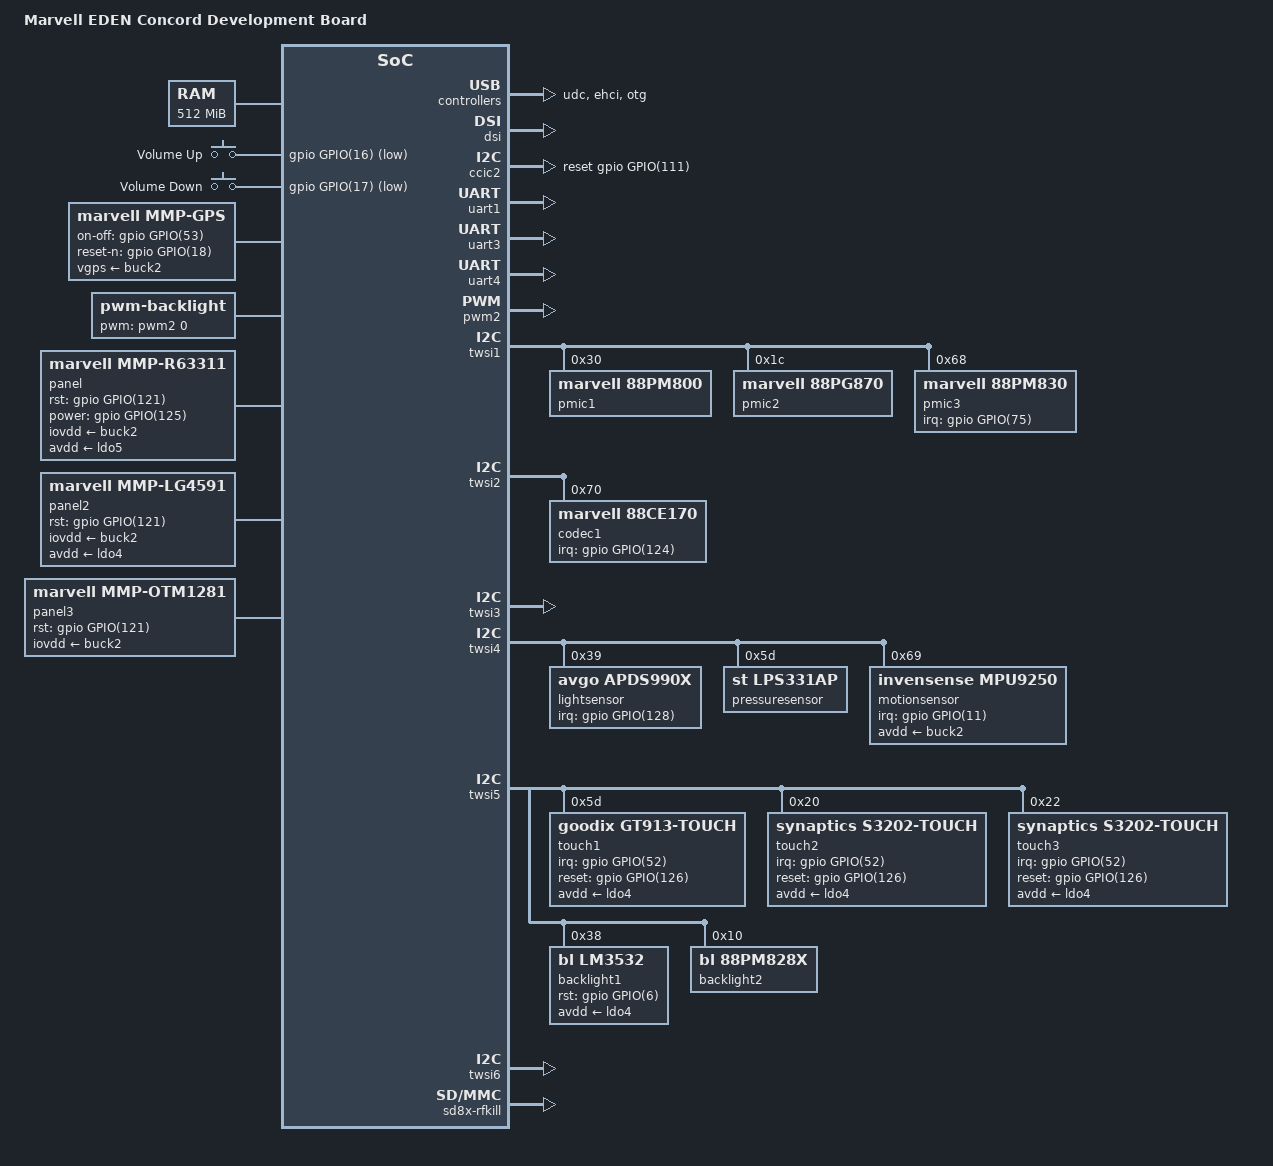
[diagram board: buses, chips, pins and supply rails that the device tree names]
/*
 *  Copyright (C) 2012 Marvell Technology Group Ltd.
 *  Author: Haojian Zhuang <haojian.zhuang@marvell.com>
 *
 *  This program is free software; you can redistribute it and/or modify
 *  it under the terms of the GNU General Public License version 2 as
 *  publishhed by the Free Software Foundation.
 */

/dts-v1/;
/memreserve/ 0x09000000 0x01000000;
#include "eden.dtsi"
#include "regulator.h"
#include <dt-bindings/mmc/pxa_sdhci.h>

/ {
	model = "Marvell EDEN Concord Development Board";
	compatible = "mrvl,eden-concord", "mrvl,eden";

	chosen {
		bootargs = "console=ttyS2,115200 uart_dma root=/dev/nfs nfsroot=192.168.1.100:/nfsroot/ ip=192.168.1.101:192.168.1.100::255.255.255.0::usb0:on";
	};

	memory {
		reg = <0x00000000 0x20000000>;
	};

	gic: interrupt-controller@d1e02000 {
		status = "okay";
	};

	gpio_keys {
			compatible = "gpio-keys";
			#address-cells = <1>;
			#size-cells = <0>;

			volume-up {
				label = "Volume Up";
				linux,code = <115>; /* KEY_VOLUMEUP */
				gpios = <&gpio GPIO(16) 1>;
			};
			volume-down {
				label = "Volume Down";
				linux,code = <114>;/* KEY_VOLUMEDOWN */
				gpios = <&gpio GPIO(17) 1>;
			};
	};

	gps: mmp-gps {
		compatible = "marvell,mmp-gps";
		vgps-supply = <&buck2>;
		on-off-gpio = <&gpio GPIO(53) 0>;
		reset-n-gpio = <&gpio GPIO(18) 0>;
	};

	soc {
		axi@d4200000 {	/* AXI */
			usbphy: usbphy@d4207000 {
				status = "okay";
			};

			udc: udc@d4208100 {
				status = "okay";
			};

			ehci: ehci@d4208100 {
				status = "okay";
			};

			otg: otg@d4208100 {
				status = "okay";
			};

			dsi: dsi@d420b800 {
				marvell,phy-name = "mmp_dsi1";
				marvell,plat-path-name = "mmp_pnpath";
				marvell,dsi-lanes = <4>;
				marvell,burst-mode = <2>;
				marvell,hbp-en;
				dsi_avdd-supply = <&ldo3>;
				status = "okay";
			};

			vdma: vdma@d427f000 {
				marvell,vdma-num = <4>;
				isram = <&isram_z1>;
				status = "okay";
				vdma1 {
					marvell,vdma-id = <0>;
					marvell,sram-size = <17408>;
					marvell,is_vid = <0>;
				};
				vdma2 {
					marvell,vdma-id = <1>;
					marvell,sram-size = <15360>;
					marvell,is_vid = <0>;
				};
				vdma3 {
					marvell,vdma-id = <2>;
					marvell,sram-size = <17408>;
					marvell,is_vid = <1>;
				};
				vdma4 {
					marvell,vdma-id = <3>;
					marvell,sram-size = <8704>;
					marvell,is_vid = <1>;
				};
			};

			disp: disp@d420b000 {
				marvell,disp-name = "mmp_disp";
				marvell,path-num = <1>;
				status = "okay";
				path1 {
					marvell,path-name = "mmp_pnpath";
					marvell,overlay-num = <2>;
					marvell,overlay-table = <0>, <1>;
					marvell,output-type = <1>;
					marvell,path-config = <0x10>;
					marvell,link-config = <1>;
					pn_sclk_clksrc {
						clksrc = "disp1";
					};
					disp1_clksrc {
						clksrc = "pll1_416";
					};
				};
			};

			ccic2: ccic@d420a800 {
				pinctrl-names = "default";
				pinctrl-0 = <&ccic2_pins>;
				pwdn-gpios = <&gpio GPIO(13) 0>;
				reset-gpios = <&gpio GPIO(111) 0>;
				fn_parent = "pll1_624";
				af_2v8-supply = <&ldo4>;
				avdd_2v8-supply = <&ldo13>;
				dovdd_1v8-supply = <&voutsw>;
				dvdd_1v2-supply = <&ldo3>;
				status = "okay";
				ccic_couple {
					    ccic_coupled = <1>;
				};
			};

			fb: fb {
				marvell,fb-name = "mmp_fb";
				marvell,path-name = "mmp_pnpath";
				marvell,overlay-id = <1>;
				marvell,default-pixfmt = <0x108>;
				marvell,buffer-num = <3>;
				marvell,fb-mem = <0x17000000>;
				status = "okay";
			};

			adma: adma@c0ffd800 {
				status = "okay";
			};

			/* emmc */
                        sdh3: sdh@d4217000 {
                                pinctrl-names = "default";
                                pinctrl-0 = <&sdh3_pins_pullup &sdh3_pins_pulldn>;
                                bus-width = <8>;
				mrvl,flags = <(
						PXA_FLAG_SD_8_BIT_CAPABLE_SLOT |
						PXA_FLAG_ENABLE_CLOCK_GATING |
						PXA_FLAG_NEW_RX_CFG_REG |
						PXA_FLAG_TX_SEL_BUS_CLK |
						PXA_FLAG_EN_PM_RUNTIME
					     )>;
                                non-removable;
				/* prop "mrvl,dtr_data": <timing preset_rate src_rate tx_delay rx_delay> */
				mrvl,dtr_data = <0 PXA_SDH_DTR_26M PXA_SDH_DTR_104M 0 0>,	/* MMC_TIMING_LEGACY */
						<2 PXA_SDH_DTR_52M PXA_SDH_DTR_104M 0 0xaa>,	/* MMC_TIMING_MMC_HS */
						<7 PXA_SDH_DTR_52M PXA_SDH_DTR_104M 0x1d8 0x6e>,	/* MMC_TIMING_UHS_DDR50 */
						<9 PXA_SDH_DTR_PS_NONE PXA_SDH_DTR_104M 0 0>;	/* MMC_TIMING_MAX */
                                status = "okay";
                        };

			/* sd card */
                        sdh1: sdh@d4280000 {
                                pinctrl-names = "default";
                                pinctrl-0 = <&sdh1_pins_pullup &sdh1_pins_pulldn>;
                                bus-width = <4>;
                                mrvl,clk-delay-cycles = <0x1f>;
				mrvl,flags = <(
						PXA_FLAG_ENABLE_CLOCK_GATING |
						PXA_FLAG_NEW_RX_CFG_REG |
						PXA_FLAG_TX_SEL_BUS_CLK
					     )>;
                                vqmmc-supply    = <&ldo6>;
                                vmmc-supply     = <&ldo10>;
				mrvl,dtr_data = <0 PXA_SDH_DTR_26M PXA_SDH_DTR_104M 0 0>,	/* MMC_TIMING_LEGACY */
						<1 PXA_SDH_DTR_26M PXA_SDH_DTR_104M 0 0>,	/* MMC_TIMING_UHS_SDR12 */
						<4 PXA_SDH_DTR_52M PXA_SDH_DTR_104M 0 0>,	/* MMC_TIMING_UHS_SDR25 */
						<3 PXA_SDH_DTR_52M PXA_SDH_DTR_104M 0 0>,	/* MMC_TIMING_SD_HS */
						<7 PXA_SDH_DTR_52M PXA_SDH_DTR_104M 0 0>,	/* MMC_TIMING_UHS_DDR50 */
						<5 PXA_SDH_DTR_104M PXA_SDH_DTR_104M 0 0>,	/* MMC_TIMING_UHS_SDR50 */
						<9 PXA_SDH_DTR_PS_NONE PXA_SDH_DTR_104M 0 0>;	/* MMC_TIMING_MAX */
                                status = "okay";
                        };

			/* sdio */
			sdh2: sdh@d4280800 {
				pinctrl-names = "default";
				pinctrl-0 = <&sdh2_pins_pullup &sdh2_pins_pulldn>;
				bus-width = <4>;
				mrvl,clk-delay-cycles = <0x0>;
				status = "okay";
			};


		};

		axi@f0400000 {
			dec@0xf0400000 {
				marvell,codec-type = <0>;
				marvell,hw-capacity = <0>;
				status = "okay";
			};

			pp@0xf0400000 {
				marvell,codec-type = <1>;
				marvell,hw-capacity = <0>;
				status = "okay";
			};

			enc@0xf0400800 {
				marvell,codec-type = <2>;
				marvell,hw-capacity = <0>;
				status = "okay";
			};
		};

		apb@d4000000 {
			/* SSPA port 0 */
			sspa0: sspa@c0ffdc00 {
				pinctrl-names = "default"; pinctrl-0 = <&sspa0_pins>;
				status = "okay";
			};

			/* PDMA Controller 0 */
			pdma0: pdma@d4000000 {
				status = "okay";
			};

			/* PDMA Controller 1 */
			pdma1: pdma@d4008000 {
				status = "okay";
			};

			/* UART for GPS */
			uart1: uart@d4030000 {
				pinctrl-names = "default"; pinctrl-0 = <&uart1_pins>;
				status = "okay";
			};

			/* UART for AP */
			uart3: uart@d4018000 {
				pinctrl-names = "default"; pinctrl-0 = <&uart3_pins>;
				status = "okay";
			};

			/* UART for WIFI and SPI NOR */
			uart4: uart@d4016000 {
				pinctrl-names = "default"; pinctrl-0 = <&uart4_pins>;
				status = "okay";
			};

			pwm2: pwm@d401a400 {
				pinctrl-names = "default"; pinctrl-0 = <&pwm2_pins>;
				status = "okay";
			};

			gpio: gpio@d4019000 {
				status = "okay";
			};

			twsi1: i2c@d4011000 {
				pinctrl-names = "default", "idle";
				pinctrl-0 = <&twsi1_pins>;
				pinctrl-1 = <&twsi1_cp_pins>;
				mrvl,i2c-apdcp;
				status = "okay";
				pmic1: 88pm822@30 {
					compatible = "marvell,88pm800";
					reg = <0x30>;
					interrupts = <0 77 0x4>;
					interrupt-parent = <&gic>;
					interrupt-controller;
					#interrupt-cells = <1>;
					marvell,88pm800-power-page-addr = <0x31>;
					marvell,88pm800-gpadc-page-addr = <0x32>;

					regulators {
						compatible = "marvell,88pm80x-regulator";

						buck1: BUCK1 {PM800_BUCK1;regulator-boot-on;regulator-always-on;};
						buck2: BUCK2 {PM800_BUCK2;regulator-boot-on;regulator-always-on;};
						buck3: BUCK3 {PM800_BUCK3;regulator-boot-on;regulator-always-on;};
						buck4: BUCK4 {PM800_BUCK4;regulator-boot-on;regulator-always-on;};
						buck5: BUCK5 {PM800_BUCK5;regulator-boot-on;regulator-always-on;};
						ldo1: LDO1 {PM800_LDO1;regulator-boot-on;regulator-always-on;};
						ldo2: LDO2 {PM800_LDO2;regulator-boot-on;regulator-always-on;};
						ldo3: LDO3 {PM800_LDO3;regulator-boot-on;};
						ldo4: LDO4 {PM800_LDO4;regulator-boot-on;regulator-always-on;};
						ldo5: LDO5 {PM800_LDO5;regulator-boot-on;regulator-always-on;};
						ldo6: LDO6 {PM800_LDO6;};
						ldo7: LDO7 {PM800_LDO7;regulator-boot-on;regulator-always-on;};
						ldo8: LDO8 {PM800_LDO8;};
						ldo9: LDO9 {PM800_LDO9;regulator-boot-on;regulator-always-on;};
						ldo10: LDO10 {PM800_LDO10;};
						ldo11: LDO11 {PM800_LDO11;regulator-boot-on;regulator-always-on;};
						ldo12: LDO12 {PM800_LDO12;regulator-boot-on;regulator-always-on;};
						ldo13: LDO13 {PM800_LDO13;};
						ldo14: LDO14 {PM800_LDO14;regulator-boot-on;};
						voutsw: VOUTSW {PM800_VOUTSW;};
					};

					vibrator: vibrator {
						compatible = "marvell,88pm80x-vibrator";
						min_timeout = <10>;
						duty_cycle = <0x3f>;
						marvell,power-supply = <&ldo10>;
					};
				};

				pmic2: 88pg870@1c {
					compatible = "marvell,88pg870";
					reg = <0x1c>;
					88pg870-ramp-rate = <6>;
					88pg870-sysctrl = <0x1f>;
					88pg870-sleep-mode = <2>;
					88pg870-vsel-idx = <0>;
					88pg870-sleep-vol = <800000>;
					regulator-name = "V_MAIN";
					regulator-min-microvolt = <600000>;
					regulator-max-microvolt = <3950000>;
					regulator-boot-on;
					regulator-always-on;
				};

				pmic3: 88pm830@68 {
					compatible = "marvell,88pm830";

					/* gpio 4, 5, 75 */
					pinctrl-names = "default";
					pinctrl-0 = <&pmic3_pins>;

					reg = <0x68>;
					interrupt-parent = <&gpio>;
					interrupt-controller;
					interrupts = <GPIO(75) IRQ_TYPE_EDGE_FALLING>;
					#interrupt-cells = <1>;

					/* IRQF_ONESHOT | IRQF_TRIGGER_FALLING */
					marvell,88pm830-irq-flags =  <0x2002>;

					charger {
						compatible = "marvell,88pm830-chg";
						prechg-current = <100>;	/* mA */
						prechg-voltage = <3300>; /* mV */
						prechg-timeout = <32>; /* minute */

						fastchg-eoc = <60>; /* mA */
						fastchg-voltage = <4200>; /* mV */
						fastchg-timeout = <8>; /* hour */

						over-voltage = <4300>; /* mV */

						no-thermal-support = <0>;
						thermal-threshold = <0xf 0xf 0x0 0x0>;

						temp-configure = <0x22>;
						temp-threshold = <150>;

						mppt-weight = <0x2>; /* 25% */
						mppt-period = <0x5>; /* 10ms */
						mppt-start-current = <0xf>; /* 1600mA */

					};

					battery {
						compatible = "marvell,88pm830-bat";

						bat-ntc-support = <1>;
						bat-capacity = <1500>;	/* mAh */
						external-resistor = <200>; /* mohm */
						sleep-period = <1000>; /* second */
						low-threshold = <30>; /* % */
						high-threshold = <50>; /* % */
					};

					usb {
						compatible = "marvell,88pm830-vbus";
						gpadc-number = <1>;
					};

					led {
						compatible = "marvell,88pm830-led";

						flash-en-gpio = <GPIO(5)>;
						flash-txmsk-gpio = <GPIO(4)>;
					};
				};
			};

			twsi2: i2c@d4031000 {
				pinctrl-names = "default"; pinctrl-0 = <&twsi2_pins>;
				status = "okay";

				codec1: 88ce170@70 {
					compatible = "marvell,88ce170";
					reg = <0x70>;
					interrupt-parent = <&gpio>;
					interrupts = <GPIO(124) 0x1>;
				};
			};

			twsi3: i2c@d4032000 {
				pinctrl-names = "default"; pinctrl-0 = <&twsi3_pins>;
				status = "okay";
			};

			twsi4: i2c@d4033000 {
				pinctrl-names = "default"; pinctrl-0 = <&twsi4_pins>;
				status = "okay";
				lightsensor: apds990x@39 {
					pinctrl-names = "default"; pinctrl-0 = <&apds990x_pins>;
					compatible = "avgo,apds990x";
					reg = <0x39>;
					interrupt-parent = <&gpio>;
					interrupts = <GPIO(128) 0x1>;
				};

				pressuresensor: lps331ap@5d {
					compatible = "st,lps331ap";
					reg = <0x5d>;
					lps331ap,poll_interval = <1000>;
				};
				motionsensor: mpu9250@69 {
					compatible = "invensense,mpu9250";
					reg = <0x69>;
					interrupt-parent = <&gpio>;
					interrupts = <GPIO(11) 0x2>;
					invensense,irq-gpios = <&gpio GPIO(11) 0x00>;
					avdd-supply = <&buck2>;
				};
			};

			twsi5: i2c@d4033800 {
				pinctrl-names = "default"; pinctrl-0 = <&twsi5_pins>;
				status = "okay";

				touch1: gt913@5d {
					compatible = "goodix,gt913-touch";
					pinctrl-names = "default"; pinctrl-0 = <&touch_pins>;
					reg = <0x5d>;
					interrupt-parent = <&gpio>;
					interrupts = <GPIO(52) 0x1>;
					irq-gpios = <&gpio GPIO(52) 0>;
					reset-gpios = <&gpio GPIO(126) 0>;
					goodix,max-height = <1280>;
					goodix,max-width = <720>;
					avdd-supply = <&ldo4>;
				};

				touch2: s3202@20 {
					compatible = "synaptics,s3202-touch";
					pinctrl-names = "default"; pinctrl-0 = <&touch_pins>;
					reg = <0x20>;
					interrupt-parent = <&gpio>;
					interrupts = <GPIO(52) 0x1>;
					/* IRQF_ONESHOT | IRQF_TRIGGER_FALLING */
					synaptics,irq-flags =  <0x2002>;
					synaptics,irq-gpios = <&gpio GPIO(52) 0>;
					synaptics,reset-gpios = <&gpio GPIO(126) 0>;
					synaptics,sensor_res_x = <720>;
					synaptics,sensor_res_y = <1280>;
					synaptics,sensor_max_x = <798>;
					synaptics,sensor_max_y = <1392>;
					synaptics,sensor_margin_x = <39>;
					synaptics,sensor_margin_y = <0>;
					avdd-supply = <&ldo4>;
				};

				touch3: s3202@22 {
					compatible = "synaptics,s3202-touch";
					pinctrl-names = "default"; pinctrl-0 = <&touch_pins>;
					reg = <0x22>;
					interrupt-parent = <&gpio>;
					interrupts = <GPIO(52) 0x1>;
					/* IRQF_ONESHOT | IRQF_TRIGGER_FALLING */
					synaptics,irq-flags =  <0x2002>;
					synaptics,irq-gpios = <&gpio GPIO(52) 0>;
					synaptics,reset-gpios = <&gpio GPIO(126) 0>;
					synaptics,sensor_res_x = <1080>;
					synaptics,sensor_res_y = <1920>;
					synaptics,sensor_max_x = <1080>;
					synaptics,sensor_max_y = <2070>;
					synaptics,sensor_margin_x = <0>;
					synaptics,sensor_margin_y = <0>;
					avdd-supply = <&ldo4>;
				};

				backlight1: lm3532@38 {
					compatible = "bl,lm3532";
					reg = <0x38>;
					flags = <0>;
					ramp_time = <0>;
					ctrl_a_fs_current = <0x1b>;
					ctrl_a_mapping_mode = <0x2>;
					ctrl_a_pwm = <0x86>;
					rst_gpio = <&gpio GPIO(6) 0>;
					avdd-supply = <&ldo4>;
				};

				backlight2: pm828x@10 {
					compatible = "bl,88pm828x";
					reg = <0x10>;
					ramp_mode = <0x2>;
					idac_current = <0xa00>;
					ramp_clk = <0>;
					str_config = <0x1>;
				};
			};

			twsi6: i2c@d4034000 {
				pinctrl-names = "default"; pinctrl-0 = <&twsi6_pins>;
				status = "okay";
			};

			thermal: thermal@d403b000 {
				status = "okay";
			};

			rtc: rtc@d4010000 {
				status = "okay";
			};

			pmx: pinmux@d401e000 {
				status = "okay";
				/* pin base, nr pins & gpio function */
				pinctrl-single,gpio-range = <EDEN_GPIO_PINMUX>;

				uart1_pins: pinmux_uart1_pins {
					pinctrl-single,pins = <P00_UART1_RXD  P01_UART1_TXD
							       P02_UART1_CTS  P03_UART1_RTS>;
					MFP_DEFAULT;
				};

				uart3_pins: pinmux_uart3_pins {
					pinctrl-single,pins = <P33_UART3_RXD P34_UART3_TXD>;
					MFP_DEFAULT;
				};

				uart4_pins: pinmux_uart4_pins {
					pinctrl-single,pins = <P48_UART4_RXD P47_UART4_TXD
								P50_UART4_RTS P49_UART4_CTS>;
					MFP_DEFAULT;
				};

				pwm2_pins: pinmux_pwm2_pins {
					pinctrl-single,pins = <P51_PWM2>;
					MFP_DEFAULT;
				};

				ccic2_pins: pinmux_ccic2_pins {
					pinctrl-single,pins = <P14_CAM_MCLK>;
					MFP_DEFAULT;
				};

				twsi1_pins: pinmux_twsi1_pins {
					pinctrl-single,pins = <P67_PWR_SCL P68_PWR_SDA>;
					MFP_DEFAULT;
				};

				twsi1_cp_pins: pinmux_twsi1_cp_pins {
					pinctrl-single,pins = <P67_PWR_CP_SCL P68_PWR_CP_SDA>;
					MFP_LPM_PULL_HIGH;
				};

				twsi2_pins: pinmux_twsi2_pins {
					pinctrl-single,pins = <P43_TWSI2_SCL P44_TWSI2_SDA>;
					MFP_DEFAULT;
				};

				twsi3_pins: pinmux_twsi3_pins {
					pinctrl-single,pins = <P31_TWSI3_SCL P32_TWSI3_SDA>;
					MFP_DEFAULT;
				};

				twsi4_pins: pinmux_twsi4_pins {
					pinctrl-single,pins = <P46_TWSI4_SCL P45_TWSI4_SDA>;
					MFP_DEFAULT;
				};

				twsi5_pins: pinmux_twsi5_pins {
					pinctrl-single,pins = <P29_TWSI5_SCL P30_TWSI5_SDA>;
					MFP_DEFAULT;
				};

				twsi6_pins: pinmux_twsi6_pins {
					pinctrl-single,pins = <P35_TWSI6_SCL P36_TWSI6_SDA>;
					MFP_DEFAULT;
				};

				sspa0_pins: pinmux_sspa0_pins {
					pinctrl-single,pins = <P20_I2S_SYSCLK P21_I2S_BITCLK
					P22_I2S_SYNC P23_I2S_DATA_OUT P24_I2S_SDATA_IN>;
					DS_SLOW0;PULL_NONE;EDGE_NONE;LPM_NONE;
				};

				pmic3_pins: pinmux_88pm830_pins {
					pinctrl-single,pins = <P75_830_IRQ P04_830_FLASH P05_830_LED_EN>;
					MFP_DEFAULT;
				};

				touch_pins: pinmux_touch_pins {
					pinctrl-single,pins = <P52_TOUCH_IRQ P126_TOUCH_RESET>;
					MFP_DEFAULT;
				};

				apds990x_pins: pinmux_apds990x_pins {
					pinctrl-single,pins = <P128_LIGHT_SENSOR_IRQ>;
					MFP_PULL_UP;
				};

				sdh3_pins_pullup: pinmux_sdh3_pins_pullup {
					pinctrl-single,pins = <
						P80_MMC3_DAT7
						P81_MMC3_DAT6
						P82_MMC3_DAT5
						P83_MMC3_DAT4
						P84_MMC3_DAT3
						P85_MMC3_DAT2
						P86_MMC3_DAT1
						P87_MMC3_DAT0
						P89_MMC3_CMD
						P90_MMC3_RST
					>;
					MFP_PULL_UP;
				};

				sdh3_pins_pulldn: pinmux_sdh3_pins_pulldn {
					pinctrl-single,pins = <
						P88_MMC3_CLK
					>;
					MFP_PULL_DOWN;
				};

				sdh1_pins_pullup: pinmux_sdh1_pins_pullup {
					pinctrl-single,pins = <
						P59_MMC1_DAT3
						P60_MMC1_DAT2
						P61_MMC1_DAT1
						P62_MMC1_DAT0
						P63_MMC1_CMD
						P65_MMC1_CD_N
						P66_MMC1_WP
					>;
					MFP_PULL_UP;
				};

				sdh1_pins_pulldn: pinmux_sdh1_pins_pulldn {
					pinctrl-single,pins = <
						P64_MMC1_CLK
					>;
					MFP_PULL_DOWN;
				};

				sdh2_pins_pullup: pinmux_sdh2_pins_pullup {
					pinctrl-single,pins = <
						P37_MMC2_DAT3
						P38_MMC2_DAT2
						P39_MMC2_DAT1
						P40_MMC2_DAT0
						P41_MMC2_CMD
					>;
					MFP_PULL_UP;
				};

				sdh2_pins_pulldn: pinmux_sdh2_pins_pulldn {
					pinctrl-single,pins = <
						P42_MMC2_CLK
						P118_WIFI_RST_N
						P119_WIFI_PD_N
					>;
					MFP_PULL_DOWN;
				};


			};
		};

		soc-camera@0 {
			status = "okay";
		};
	};

	sound {
		compatible = "marvell,mmp-88ce170-snd-card";
		mrvl,sspa-controllers = <&sspa0>;
	};

	ion {
		marvell,ion-nr = <2>;
		status = "okay";
		heap1 {
			marvell,ion-name = "carveout_heap";
			marvell,ion-type = <2>;
			marvell,ion-id = <2>;
			marvell,ion-base = <0x09000000>;
			marvell,ion-size = <0x01000000>;
		};
		heap2 {
			marvell,ion-name = "system_heap";
			marvell,ion-type = <0>;
			marvell,ion-id = <0>;
		};
	};

	ramoops {
		status = "okay";
	};

	backlight {
		compatible = "pwm-backlight";
		pwms = <&pwm2 0 100000>;

		brightness-levels = <0 4 8 16 32 64 128 255>;
		default-brightness-level = <6>;
	};

	panel: r63311 {
		compatible = "marvell,mmp-r63311";
		marvell,path-name = "mmp_pnpath";
		rst_gpio = <&gpio GPIO(121) 0>;
		power_gpio = <&gpio GPIO(125) 0>;
		iovdd-supply = <&buck2>;
		avdd-supply = <&ldo5>;
		status = "okay";
	};

	panel2: lg4591 {
		compatible = "marvell,mmp-lg4591";
		marvell,path-name = "mmp_pnpath";
		rst_gpio = <&gpio GPIO(121) 0>;
		iovdd-supply = <&buck2>;
		avdd-supply = <&ldo4>;
		status = "okay";
	};

	panel3: otm1281 {
		compatible = "marvell,mmp-otm1281";
		marvell,path-name = "mmp_pnpath";
		rst_gpio = <&gpio GPIO(121) 0>;
		iovdd-supply = <&buck2>;
		status = "okay";
	};

	dec-devfreq {
		status = "okay";
	};

	enc-devfreq {
		status = "okay";
	};

	coresight {
		status = "okay";
	};

	keyreset {
		compatible = "marvell,keyreset";
		keys-down = <0x73 0x72>;
		keyreset-need-panic;
	};

	sd8x-rfkill {
		sd-host = <&sdh2>;
		pd-gpio = <&gpio GPIO(119) 0>;
		rst-gpio = <&gpio GPIO(118) 0>;
		status = "okay";
	};
};
